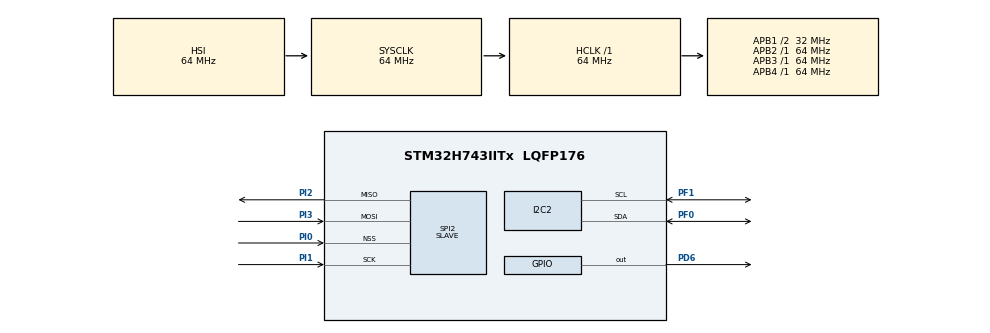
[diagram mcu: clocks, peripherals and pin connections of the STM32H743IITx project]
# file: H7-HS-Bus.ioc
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CORTEX_M7.default_mode_Activation=1
Dma.Request0=SPI2_TX
Dma.Request1=SPI2_RX
Dma.SPI2_RX.1.Direction=DMA_PERIPH_TO_MEMORY
Dma.SPI2_RX.1.EventEnable=DISABLE
Dma.SPI2_RX.1.FIFOMode=DMA_FIFOMODE_DISABLE
Dma.SPI2_RX.1.Instance=DMA1_Stream1
Dma.SPI2_RX.1.MemDataAlignment=DMA_MDATAALIGN_BYTE
Dma.SPI2_RX.1.MemInc=DMA_MINC_ENABLE
Dma.SPI2_RX.1.Mode=DMA_NORMAL
Dma.SPI2_RX.1.PeriphDataAlignment=DMA_PDATAALIGN_BYTE
Dma.SPI2_RX.1.PeriphInc=DMA_PINC_DISABLE
Dma.SPI2_RX.1.Polarity=HAL_DMAMUX_REQ_GEN_RISING
Dma.SPI2_RX.1.Priority=DMA_PRIORITY_LOW
Dma.SPI2_RX.1.RequestNumber=1
Dma.SPI2_RX.1.SignalID=NONE
Dma.SPI2_RX.1.SyncEnable=DISABLE
Dma.SPI2_RX.1.SyncPolarity=HAL_DMAMUX_SYNC_NO_EVENT
Dma.SPI2_RX.1.SyncRequestNumber=1
Dma.SPI2_RX.1.SyncSignalID=NONE
Dma.SPI2_TX.0.Direction=DMA_MEMORY_TO_PERIPH
Dma.SPI2_TX.0.EventEnable=DISABLE
Dma.SPI2_TX.0.FIFOMode=DMA_FIFOMODE_DISABLE
Dma.SPI2_TX.0.Instance=DMA1_Stream0
Dma.SPI2_TX.0.MemDataAlignment=DMA_MDATAALIGN_BYTE
Dma.SPI2_TX.0.MemInc=DMA_MINC_ENABLE
Dma.SPI2_TX.0.Mode=DMA_NORMAL
Dma.SPI2_TX.0.PeriphDataAlignment=DMA_PDATAALIGN_BYTE
Dma.SPI2_TX.0.PeriphInc=DMA_PINC_DISABLE
Dma.SPI2_TX.0.Polarity=HAL_DMAMUX_REQ_GEN_RISING
Dma.SPI2_TX.0.Priority=DMA_PRIORITY_LOW
Dma.SPI2_TX.0.RequestNumber=1
Dma.SPI2_TX.0.SignalID=NONE
Dma.SPI2_TX.0.SyncEnable=DISABLE
Dma.SPI2_TX.0.SyncPolarity=HAL_DMAMUX_SYNC_NO_EVENT
Dma.SPI2_TX.0.SyncRequestNumber=1
Dma.SPI2_TX.0.SyncSignalID=NONE
I2C2.Timing=0x00707CBB
Mcu.Family=STM32H7
Mcu.Name=STM32H743IITx
Mcu.Package=LQFP176
NVIC.DMA1_Stream0_IRQn=true\:0\:0\:false\:false\:true\:false\:true\:true
NVIC.DMA1_Stream1_IRQn=true\:0\:0\:false\:false\:true\:false\:true\:true
NVIC.PriorityGroup=NVIC_PRIORITYGROUP_4
NVIC.SPI2_IRQn=true\:0\:0\:false\:false\:true\:true\:true\:true
PD6.PinState=GPIO_PIN_SET
PD6.Signal=GPIO_Output
PF0.GPIO_Pu=GPIO_PULLUP
PF0.Mode=I2C
PF0.Signal=I2C2_SDA
PF1.GPIO_Pu=GPIO_PULLUP
PF1.Mode=I2C
PF1.Signal=I2C2_SCL
PH0-OSC_IN\ (PH0).Mode=HSE-External-Oscillator
PH0-OSC_IN\ (PH0).Signal=RCC_OSC_IN
PH1-OSC_OUT\ (PH1).Mode=HSE-External-Oscillator
PH1-OSC_OUT\ (PH1).Signal=RCC_OSC_OUT
PI0.GPIO_Speed=GPIO_SPEED_FREQ_VERY_HIGH
PI0.Mode=NSS_Signal_Hard_Input
PI0.Signal=SPI2_NSS
PI1.GPIO_Speed=GPIO_SPEED_FREQ_VERY_HIGH
PI1.Mode=Full_Duplex_Slave
PI1.Signal=SPI2_SCK
PI2.GPIO_Speed=GPIO_SPEED_FREQ_VERY_HIGH
PI2.Mode=Full_Duplex_Slave
PI2.Signal=SPI2_MISO
PI3.GPIO_Speed=GPIO_SPEED_FREQ_VERY_HIGH
PI3.Mode=Full_Duplex_Slave
PI3.Signal=SPI2_MOSI
ProjectManager.HeapSize=0x200
ProjectManager.StackSize=0x400
ProjectManager.TargetToolchain=MDK-ARM V5.32
RCC.ADCFreq_Value=129000000
RCC.APB1Freq_Value=32000000
RCC.APB2Freq_Value=64000000
RCC.APB3Freq_Value=64000000
RCC.APB4Freq_Value=64000000
RCC.CortexFreq_Value=64000000
RCC.D2PPRE1=RCC_APB1_DIV2
RCC.DIVM1=4
RCC.DIVN1=10
RCC.HCLKFreq_Value=64000000
RCC.PLLFRACN=0
RCC.SYSCLKFreq_VALUE=64000000
RCC.USBFreq_Value=80000000
SPI2.DataSize=SPI_DATASIZE_8BIT
SPI2.Direction=SPI_DIRECTION_2LINES
SPI2.FifoThreshold=SPI_FIFO_THRESHOLD_08DATA
SPI2.Mode=SPI_MODE_SLAVE
SPI2.VirtualNSS=VM_NSSHARD
SPI2.VirtualType=VM_SLAVE
VP_MEMORYMAP_VS_MEMORYMAP.Mode=CurAppReg
board=custom

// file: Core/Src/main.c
/* USER CODE BEGIN Header */
/**
  ******************************************************************************
  * @file           : main.c
  * @brief          : Main program body
  ******************************************************************************
  * @attention
  *
  * Copyright (c) 2026 STMicroelectronics.
  * All rights reserved.
  *
  * This software is licensed under terms that can be found in the LICENSE file
  * in the root directory of this software component.
  * If no LICENSE file comes with this software, it is provided AS-IS.
  *
  ******************************************************************************
  */
/* USER CODE END Header */
#include "main.h"
#include "dma.h"
#include "i2c.h"
#include "spi.h"
#include "gpio.h"

/* USER CODE BEGIN PD */
#define MPU6050_ADDR        0xD0   // MPU6050 的 I2C 地址 (AD0接地时为0x68，左移一位是0xD0)
#define MPU6050_REG_PWR1    0x6B   // 电源管理寄存器1 (用于唤醒设备)
#define MPU6050_REG_ACCEL_X 0x3B   // 加速度计 X 轴高位寄存器 (数据起始地址)
/* USER CODE END PD */

/* USER CODE BEGIN PV */
#define TEST_LEN 32
uint8_t spi_tx_buf[TEST_LEN] = {0x11, 0x22, 0x33, 0x44}; // H7发给主机的测试数据
uint8_t spi_rx_buf[TEST_LEN] = {0};                      // 接收主机的数据
volatile uint8_t spi_tx_complete = 0;
/* USER CODE END PV */

void SystemClock_Config(void);
static void MPU_Config(void);

int main(void)
{

  /* MPU Configuration--------------------------------------------------------*/
  MPU_Config();

  /* MCU Configuration--------------------------------------------------------*/

  /* Reset of all peripherals, Initializes the Flash interface and the Systick. */
  HAL_Init();

  /* Configure the system clock */
  SystemClock_Config();

  /* Initialize all configured peripherals */
  MX_GPIO_Init();
  MX_DMA_Init();
  MX_SPI2_Init();
  MX_I2C2_Init();
  /* USER CODE BEGIN 2 */
	uint8_t pwr_cmd = 0x00;
  // 向 0x6B 寄存器写入 0x00，解除休眠模式
  HAL_I2C_Mem_Write(&hi2c2, MPU6050_ADDR, MPU6050_REG_PWR1, 1, &pwr_cmd, 1, 100);
  // ==========================================================

  // 1. 确保引脚初始为高电平 (你之前的代码，注意是 PD6 了)
  HAL_GPIO_WritePin(GPIOD, GPIO_PIN_6, GPIO_PIN_SET);

  // 2. 开启 SPI DMA 监听
  HAL_SPI_TransmitReceive_DMA(&hspi2, spi_tx_buf, spi_rx_buf, TEST_LEN);

  // 3. 拉低引脚，产生下降沿！触发 6ULL 的中断去读数据
  HAL_GPIO_WritePin(GPIOD, GPIO_PIN_6, GPIO_PIN_RESET);
  /* USER CODE BEGIN 2 */
  uint32_t last_heartbeat = HAL_GetTick();
  /* USER CODE END 2 */

  /* Infinite loop */
  while (1)
  {
    /* 1. 正常流程：当上一帧 SPI 传输完成后 (由回调函数置位) */
    if (spi_tx_complete == 1)
    {
        spi_tx_complete = 0;

        // A. 读取 MPU6050 真实数据 (前 6 字节)
        HAL_I2C_Mem_Read(&hi2c2, MPU6050_ADDR, MPU6050_REG_ACCEL_X, 1, &spi_tx_buf[0], 6, 100);

        // B. 计算校验和 (第 32 字节)
        uint8_t checksum = 0;
        for(int i = 0; i < 31; i++) checksum += spi_tx_buf[i];
        spi_tx_buf[31] = checksum;

        // C. [关键] 高速通信必须刷 Cache，否则 DMA 发出的是旧数据
        uint32_t aligned_addr = (uint32_t)spi_tx_buf & ~0x1F;
        SCB_CleanDCache_by_Addr((uint32_t*)aligned_addr, 64);

        // D. 重新挂载 DMA 监听
        HAL_SPI_Abort(&hspi2);
        if (HAL_SPI_TransmitReceive_DMA(&hspi2, spi_tx_buf, spi_rx_buf, TEST_LEN) == HAL_OK)
        {
            // E. 准备就绪，拉低引脚触发 Linux
            HAL_GPIO_WritePin(GPIOD, GPIO_PIN_6, GPIO_PIN_RESET);
            last_heartbeat = HAL_GetTick();
        }
    }
    else
    {
        /* 2. 异常恢复：如果 100ms 没收到 Linux 的读取，强行重发下降沿 */
        if (HAL_GetTick() - last_heartbeat > 100)
        {
            HAL_GPIO_WritePin(GPIOD, GPIO_PIN_6, GPIO_PIN_SET);
            HAL_Delay(1);
            HAL_GPIO_WritePin(GPIOD, GPIO_PIN_6, GPIO_PIN_RESET);
            last_heartbeat = HAL_GetTick();
        }
    }
    /* USER CODE BEGIN 3 */
  }
}

void SystemClock_Config(void)
{
  RCC_OscInitTypeDef RCC_OscInitStruct = {0};
  RCC_ClkInitTypeDef RCC_ClkInitStruct = {0};

  /** Supply configuration update enable
  */
  HAL_PWREx_ConfigSupply(PWR_LDO_SUPPLY);

  /** Configure the main internal regulator output voltage
  */
  __HAL_PWR_VOLTAGESCALING_CONFIG(PWR_REGULATOR_VOLTAGE_SCALE3);

  while(!__HAL_PWR_GET_FLAG(PWR_FLAG_VOSRDY)) {}

  /** Initializes the RCC Oscillators according to the specified parameters
  * in the RCC_OscInitTypeDef structure.
  */
  RCC_OscInitStruct.OscillatorType = RCC_OSCILLATORTYPE_HSI;
  RCC_OscInitStruct.HSIState = RCC_HSI_DIV1;
  RCC_OscInitStruct.HSICalibrationValue = RCC_HSICALIBRATION_DEFAULT;
  RCC_OscInitStruct.PLL.PLLState = RCC_PLL_ON;
  RCC_OscInitStruct.PLL.PLLSource = RCC_PLLSOURCE_HSI;
  RCC_OscInitStruct.PLL.PLLM = 4;
  RCC_OscInitStruct.PLL.PLLN = 10;
  RCC_OscInitStruct.PLL.PLLP = 2;
  RCC_OscInitStruct.PLL.PLLQ = 2;
  RCC_OscInitStruct.PLL.PLLR = 2;
  RCC_OscInitStruct.PLL.PLLRGE = RCC_PLL1VCIRANGE_3;
  RCC_OscInitStruct.PLL.PLLVCOSEL = RCC_PLL1VCOMEDIUM;
  RCC_OscInitStruct.PLL.PLLFRACN = 0;
  if (HAL_RCC_OscConfig(&RCC_OscInitStruct) != HAL_OK)
  {
    Error_Handler();
  }

  /** Initializes the CPU, AHB and APB buses clocks
  */
  RCC_ClkInitStruct.ClockType = RCC_CLOCKTYPE_HCLK|RCC_CLOCKTYPE_SYSCLK
                              |RCC_CLOCKTYPE_PCLK1|RCC_CLOCKTYPE_PCLK2
                              |RCC_CLOCKTYPE_D3PCLK1|RCC_CLOCKTYPE_D1PCLK1;
  RCC_ClkInitStruct.SYSCLKSource = RCC_SYSCLKSOURCE_HSI;
  RCC_ClkInitStruct.SYSCLKDivider = RCC_SYSCLK_DIV1;
  RCC_ClkInitStruct.AHBCLKDivider = RCC_HCLK_DIV1;
  RCC_ClkInitStruct.APB3CLKDivider = RCC_APB3_DIV1;
  RCC_ClkInitStruct.APB1CLKDivider = RCC_APB1_DIV2;
  RCC_ClkInitStruct.APB2CLKDivider = RCC_APB2_DIV1;
  RCC_ClkInitStruct.APB4CLKDivider = RCC_APB4_DIV1;

  if (HAL_RCC_ClockConfig(&RCC_ClkInitStruct, FLASH_LATENCY_1) != HAL_OK)
  {
    Error_Handler();
  }
}

/* USER CODE BEGIN 4 */
/*
 * DMA SPI 收发完成后的回调函数
 * 什么时候触发：DMA 收发完数据后，硬件自动进中断，就会调用这个函数
 * 作用：数据已经收到了，在这里处理接收结果
 * 最后一行：开启下一次 DMA 收发，形成循环
 */
void HAL_SPI_TxRxCpltCallback(SPI_HandleTypeDef *hspi)
{
	if (hspi->Instance == SPI2)
	{
		// 1. 数据被读走了，立马把中断线拉高
		HAL_GPIO_WritePin(GPIOD, GPIO_PIN_6, GPIO_PIN_SET);

		// 2. 设置标志位，通知 while(1) 去读 I2C（千万别在这里读！）
		spi_tx_complete = 1;
	}
}

/*
 * SPI DMA 出错回调函数
 * 触发时机：SPI 传输出错（超时、硬件故障、通信异常）时自动调用
 * HAL_SPI_Abort(&hspi2)：终止当前出错的传输，复位 SPI
 * 最后一行：重启 DMA 循环收发，让程序恢复运行
 */
void HAL_SPI_ErrorCallback(SPI_HandleTypeDef *hspi)
{
	if (hspi->Instance == SPI2)
	{
		HAL_GPIO_WritePin(GPIOD, GPIO_PIN_6, GPIO_PIN_SET);
		spi_tx_complete = 1; // 出错了也丢给主循环去复位
	}
}
/* USER CODE END 4 */

 /* MPU Configuration */

void MPU_Config(void)
{
  MPU_Region_InitTypeDef MPU_InitStruct = {0};

  /* Disables the MPU */
  HAL_MPU_Disable();

  /** Initializes and configures the Region and the memory to be protected
  */
  MPU_InitStruct.Enable = MPU_REGION_ENABLE;
  MPU_InitStruct.Number = MPU_REGION_NUMBER0;
  MPU_InitStruct.BaseAddress = 0x0;
  MPU_InitStruct.Size = MPU_REGION_SIZE_4GB;
  MPU_InitStruct.SubRegionDisable = 0x87;
  MPU_InitStruct.TypeExtField = MPU_TEX_LEVEL0;
  MPU_InitStruct.AccessPermission = MPU_REGION_NO_ACCESS;
  MPU_InitStruct.DisableExec = MPU_INSTRUCTION_ACCESS_DISABLE;
  MPU_InitStruct.IsShareable = MPU_ACCESS_SHAREABLE;
  MPU_InitStruct.IsCacheable = MPU_ACCESS_NOT_CACHEABLE;
  MPU_InitStruct.IsBufferable = MPU_ACCESS_NOT_BUFFERABLE;

  HAL_MPU_ConfigRegion(&MPU_InitStruct);
  /* Enables the MPU */
  HAL_MPU_Enable(MPU_PRIVILEGED_DEFAULT);

}

void Error_Handler(void)
{
  __disable_irq();
  while (1)
  {
  }
}
